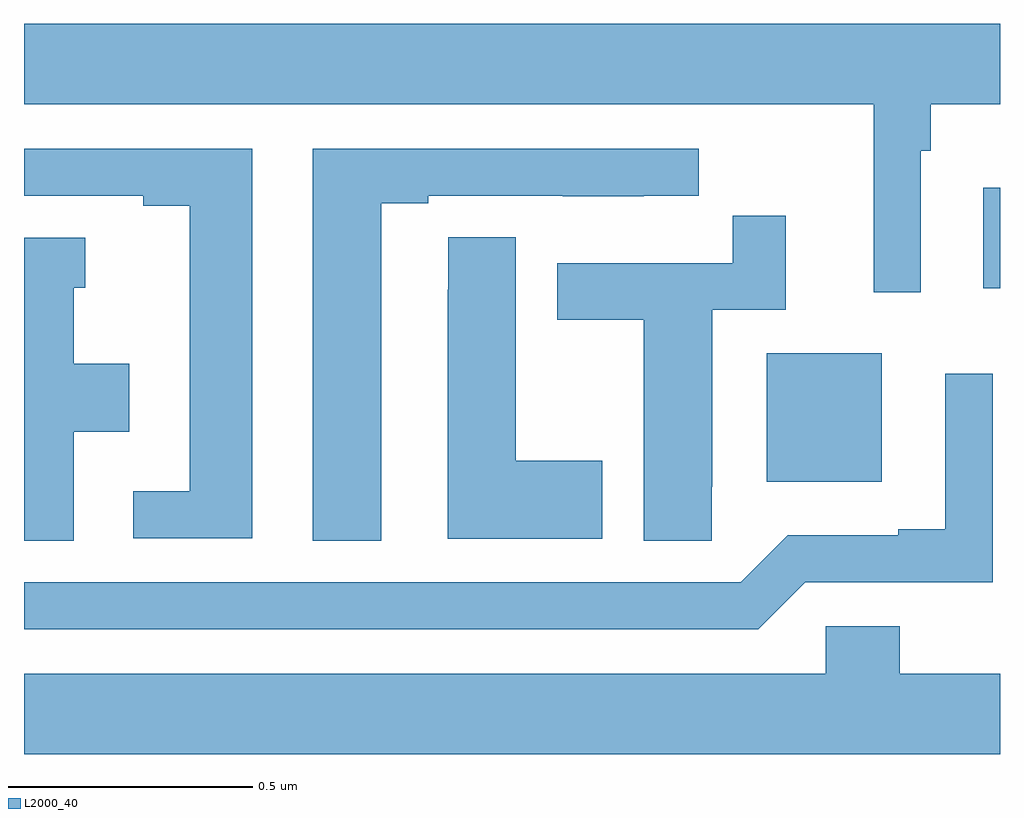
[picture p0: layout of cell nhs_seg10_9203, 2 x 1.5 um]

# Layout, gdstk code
import gdstk
lib = gdstk.Library(unit=1e-6, precision=1e-09)
def R(c, l, rs):  # rectangles x0, y0, x1, y1
    for r in rs: c.add(gdstk.rectangle(r[:2], r[2:], *l))
def P(c, l, *ps):  # polygons
    for p in ps: c.add(gdstk.Polygon(p, *l))
L2000_40 = (2000, 40)

nhs_seg10_9203 = lib.new_cell('nhs_seg10_9203')
R(nhs_seg10_9203, L2000_40, [(227.522,1311.53,227.758,1311.793), (227.966,1311.926,228,1312.132)])
P(nhs_seg10_9203, L2000_40, [(227.838,1312.208),(227.858,1312.208),(227.858,1312.304),(228,1312.304),(228,1312.468),(226,1312.468),(226,1312.304),(227.741,1312.304),(227.741,1311.918),(227.838,1311.918)],
  [(226.732,1312.101),(226.828,1312.101),(226.828,1312.116),(227.104,1312.116),(227.104,1312.115),(227.27,1312.115),(227.27,1312.116),(227.383,1312.116),(227.383,1312.212),(226.592,1312.212),(226.592,1311.409),(226.732,1311.409)],
  [(226.468,1312.212),(226,1312.212),(226,1312.116),(226.244,1312.116),(226.244,1312.096),(226.34,1312.096),(226.34,1311.51),(226.224,1311.51),(226.224,1311.414),(226.468,1311.414)],
  [(227.409,1311.52),(227.41,1311.52),(227.41,1311.882),(227.561,1311.882),(227.561,1312.075),(227.452,1312.075),(227.452,1311.978),(227.093,1311.978),(227.093,1311.862),(227.27,1311.862),(227.27,1311.409),(227.409,1311.409)],
  [(227.185,1311.573),(227.008,1311.573),(227.008,1312.031),(226.869,1312.031),(226.869,1311.923),(226.868,1311.923),(226.868,1311.413),(227.185,1311.413)],
  [(226.102,1311.632),(226.216,1311.632),(226.216,1311.772),(226.102,1311.772),(226.102,1311.927),(226.126,1311.927),(226.126,1312.03),(226,1312.03),(226,1311.409),(226.102,1311.409)],
  [(227.601,1311.324),(227.985,1311.324),(227.985,1311.751),(227.888,1311.751),(227.888,1311.433),(227.792,1311.433),(227.792,1311.42),(227.565,1311.42),(227.469,1311.324),(226,1311.324),(226,1311.228),(227.505,1311.228)],
  [(228,1311.136),(227.795,1311.136),(227.795,1311.234),(227.643,1311.234),(227.643,1311.136),(226,1311.136),(226,1310.972),(228,1310.972)])

lib.write_gds('nhs_seg10_9203.gds')
